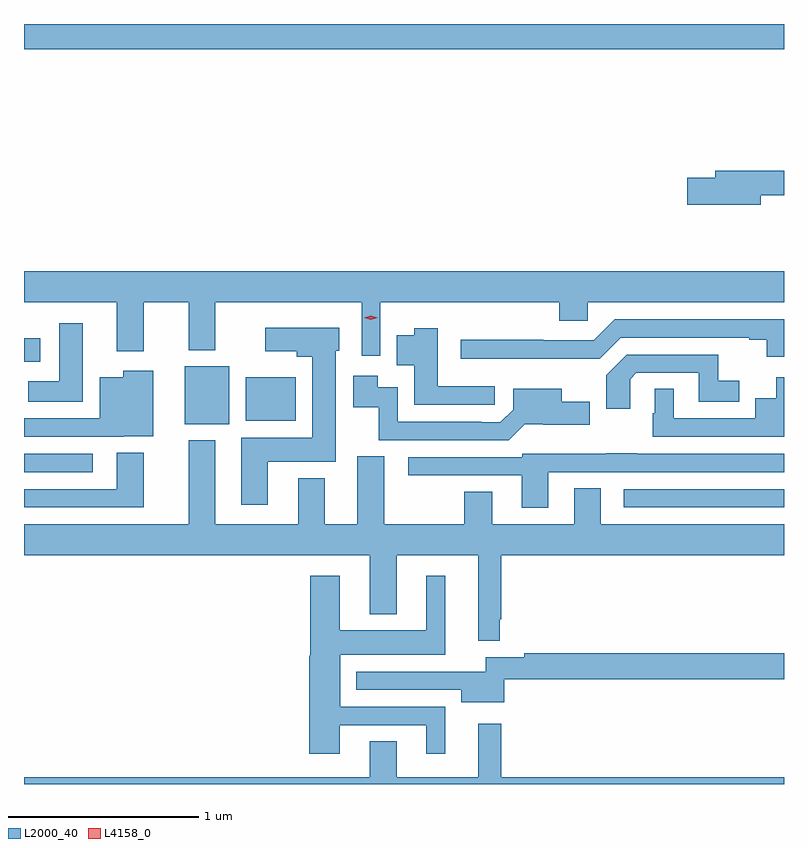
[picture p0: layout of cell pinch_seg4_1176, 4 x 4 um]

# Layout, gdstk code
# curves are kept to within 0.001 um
import gdstk
lib = gdstk.Library(unit=1e-6, precision=1e-09)
def R(c, l, rs):  # rectangles x0, y0, x1, y1
    for r in rs: c.add(gdstk.rectangle(r[:2], r[2:], *l))
def P(c, l, *ps):  # polygons
    for p in ps: c.add(gdstk.Polygon(p, *l))
L2000_40 = (2000, 40)
L4158_0 = (4158, 0)

pinch_seg4_1176 = lib.new_cell('pinch_seg4_1176')
R(pinch_seg4_1176, L2000_40, [(639.861,757.113,640.704,757.209), (636.704,757.299,637.066,757.395), (637.55,757.55,637.783,757.855), (637.871,757.568,638.134,757.798), (636.704,757.88,636.79,758.002), (636.704,759.524,640.704,759.657)])
P(pinch_seg4_1176, L2000_40, [(640.582,758.757),(640.704,758.757),(640.704,758.885),(640.343,758.885),(640.343,758.849),(640.194,758.849),(640.194,758.707),(640.582,758.707)],
  [(638.579,758.192),(639.521,758.192),(639.521,758.094),(639.672,758.094),(639.672,758.192),(640.704,758.192),(640.704,758.356),(636.704,758.356),(636.704,758.192),(637.193,758.192),(637.193,757.935),(637.333,757.935),(637.333,758.192),(637.571,758.192),(637.571,757.94),(637.711,757.94),(637.711,758.192),(638.481,758.192),(638.481,757.911),(638.579,757.911)],
  [(639.846,758.007),(640.52,758.007),(640.52,757.995),(640.612,757.995),(640.612,757.905),(640.704,757.905),(640.704,758.103),(639.813,758.103),(639.702,757.992),(639.437,757.992),(639.437,757.994),(639.003,757.994),(639.003,757.895),(639.733,757.894)],
  [(637.012,758.083),(636.89,758.083),(636.89,757.777),(636.726,757.777),(636.726,757.67),(637.012,757.67)],
  [(637.987,757.352),(638.344,757.352),(638.344,757.938),(638.362,757.938),(638.362,758.059),(637.974,758.059),(637.974,757.934),(638.139,757.934),(638.139,757.907),(638.222,757.907),(638.222,757.48),(637.847,757.48),(637.847,757.128),(637.987,757.128)],
  [(639.181,757.75),(638.881,757.75),(638.881,758.056),(638.759,758.056),(638.759,758.02),(638.666,758.02),(638.666,757.862),(638.759,757.862),(638.759,757.653),(639.181,757.653)],
  [(639.894,757.788),(639.927,757.821),(640.256,757.821),(640.256,757.67),(640.468,757.67),(640.468,757.78),(640.358,757.78),(640.358,757.917),(639.876,757.917),(639.768,757.808),(639.768,757.632),(639.894,757.632)],
  [(637.23,757.487),(637.384,757.487),(637.384,757.831),(637.226,757.831),(637.226,757.798),(637.103,757.798),(637.103,757.581),(636.704,757.581),(636.704,757.485),(637.23,757.485)],
  [(639.34,757.551),(639.436,757.551),(639.436,757.547),(639.682,757.547),(639.682,757.669),(639.535,757.669),(639.535,757.738),(639.278,757.738),(639.278,757.628),(639.21,757.56),(639.11,757.56),(639.11,757.563),(638.67,757.563),(638.67,757.744),(638.566,757.744),(638.566,757.807),(638.436,757.807),(638.436,757.64),(638.572,757.64),(638.572,757.467),(639.256,757.467)],
  [(640.704,757.798),(640.664,757.798),(640.664,757.687),(640.553,757.687),(640.553,757.581),(640.123,757.581),(640.123,757.736),(640.025,757.736),(640.025,757.608),(640.014,757.608),(640.014,757.485),(640.657,757.485),(640.657,757.484),(640.704,757.484)],
  [(638.525,756.551),(638.665,756.551),(638.665,756.86),(639.095,756.86),(639.095,756.411),(639.208,756.411),(639.208,756.523),(639.217,756.523),(639.217,756.86),(640.704,756.86),(640.704,757.024),(639.739,757.024),(639.739,757.214),(639.599,757.214),(639.599,757.024),(639.169,757.024),(639.169,757.196),(639.022,757.196),(639.022,757.024),(638.599,757.024),(638.599,757.382),(638.459,757.382),(638.459,757.024),(638.287,757.024),(638.287,757.267),(638.147,757.267),(638.147,757.024),(637.711,757.024),(637.711,757.465),(637.571,757.465),(637.571,757.024),(636.704,757.024),(636.704,756.86),(638.525,756.86)],
  [(637.333,757.4),(637.193,757.4),(637.193,757.209),(636.704,757.209),(636.704,757.113),(637.333,757.113)],
  [(639.463,757.299),(640.704,757.299),(640.704,757.395),(639.929,757.395),(639.929,757.398),(639.769,757.398),(639.769,757.396),(639.327,757.396),(639.327,757.377),(638.727,757.377),(638.727,757.281),(639.323,757.281),(639.323,757.11),(639.463,757.11)],
  [(638.365,755.967),(638.822,755.967),(638.822,755.817),(638.92,755.817),(638.92,756.063),(638.368,756.063),(638.368,756.338),(638.92,756.338),(638.92,756.754),(638.822,756.754),(638.822,756.466),(638.365,756.466),(638.365,756.754),(638.21,756.754),(638.21,756.333),(638.204,756.333),(638.204,755.817),(638.365,755.817)],
  [(639.231,756.208),(640.704,756.208),(640.704,756.344),(639.338,756.344),(639.338,756.324),(639.135,756.324),(639.135,756.249),(638.453,756.249),(638.453,756.153),(639.005,756.153),(639.005,756.086),(639.231,756.086)],
  [(640.704,755.692),(639.217,755.692),(639.217,755.974),(639.095,755.974),(639.095,755.692),(638.665,755.692),(638.665,755.882),(638.525,755.882),(638.525,755.692),(636.704,755.692),(636.704,755.657),(640.704,755.657)])
P(pinch_seg4_1176, L4158_0, [(638.53,758.101),(638.494,758.111),(638.494,758.112),(638.494,758.112),(638.53,758.122),(638.565,758.112),(638.565,758.112),(638.565,758.111)])

lib.write_gds('pinch_seg4_1176.gds')
